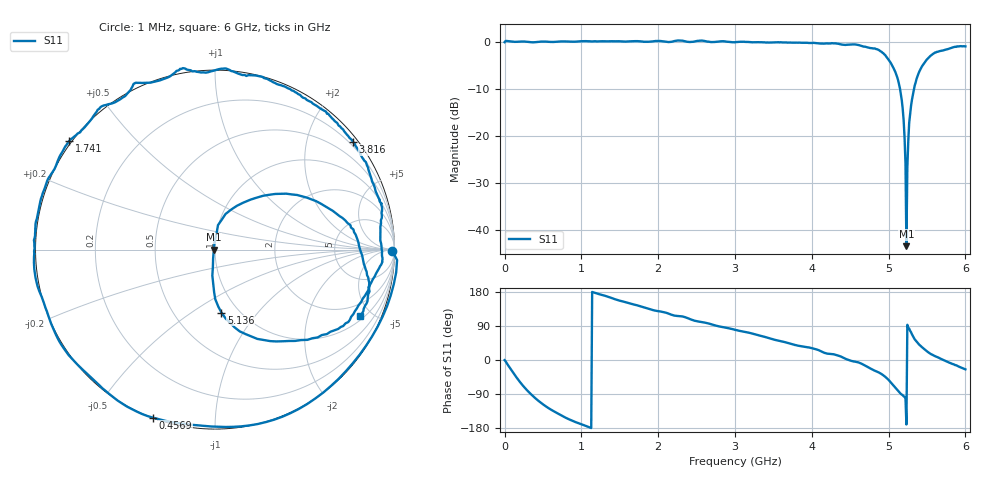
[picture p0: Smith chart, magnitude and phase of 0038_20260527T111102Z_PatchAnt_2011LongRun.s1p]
# Hz S RI R 50
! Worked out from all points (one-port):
!   501 points, 1 MHz to 6 GHz, reference 50 ohm
!   lowest |S11| = -43.4 dB at 5.232 GHz (marker M1), VSWR 1.01, Z = 49.3 - j0.114 ohm
!   |S11| at or under -10 dB: 5.149 GHz to 5.332 GHz (183 MHz wide, 3.49 % of centre)
!   S11 on the Smith chart (normalised r, x): 1 MHz: open; 456.9 MHz: 0.00, -0.70; 1.741 GHz: -0.01, +0.33; 3.816 GHz: 0.12, +2.90; 5.136 GHz: 0.83, -0.67; 6 GHz: 1.19, -4.26
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1000000  0.9877 -0.00604
8.4986e7  0.9057 -0.4307
2.28962e8  0.4216 -0.9107
3.12948e8  0.1032 -0.9874
4.56924e8  -0.3457 -0.9364
7.56874e8  -0.8551 -0.5314
1.068822e9  -1.008 -0.0907
1.50075e9  -0.9249 0.4029
1.74071e9  -0.8123 0.6037
2.256624e9  -0.4531 0.9241
3.0005e9  0.1747 0.9676
3.756374e9  0.7349 0.6407
3.816364e9  0.7679 0.5996
4.308282e9  0.9309 0.231
4.50025e9  0.9301 -0.0201
4.86019e9  0.7015 -0.4307
5.028162e9  0.308 -0.5098
5.136144e9  0.0362 -0.3513
5.184136e9  -0.00987 -0.193
5.196134e9  -0.0148 -0.145
5.208132e9  -0.0117 -0.0948
5.232128e9  -0.00667 -0.00116
5.256124e9  0.00815 0.087
5.268122e9  0.0166 0.1363
5.292118e9  0.0588 0.1985
5.412098e9  0.3969 0.3116
5.628062e9  0.7714 0.112
6e9  0.8094 -0.3715
